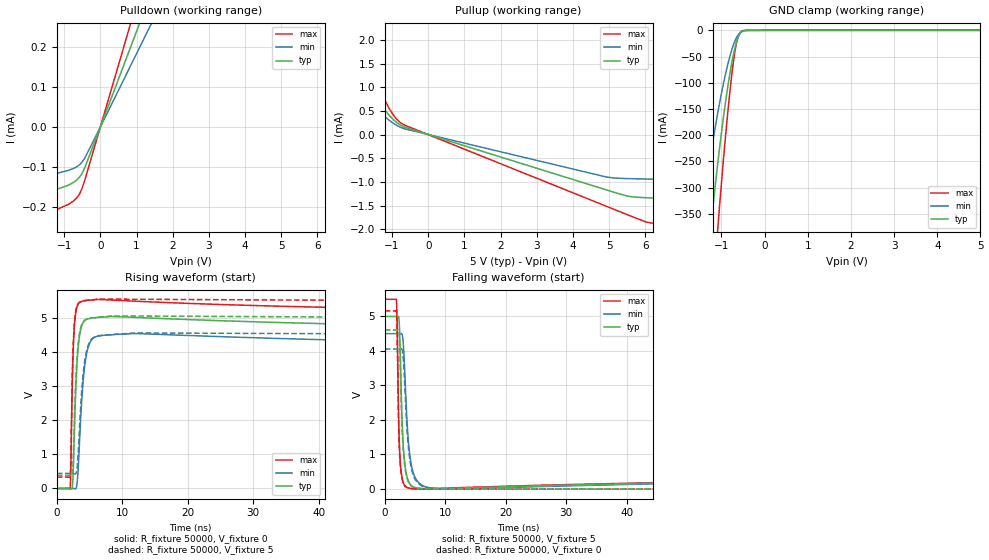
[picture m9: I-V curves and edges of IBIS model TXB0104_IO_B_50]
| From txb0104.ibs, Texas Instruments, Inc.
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[Model]   TXB0104_IO_B_50
Model_type  I/O
Vinl=1.575
Vinh=3.575
Enable   Active-High
Vref =   0
Rref =   1e6
Cref =   15p
Vmeas =   2.5
| variable   typ   min   max
C_comp   13.34pF   11.24pF   15.52pF
| C_pullup   13.27pF   11.21pF   16.01pF
| C_pulldown   23.02pF   10.60pF   39.75pF
| C_tri-state   13.34pF   11.24pF   15.52pF
[Temperature Range]   40   100   -40
| Ambient temperature   25   85   -40
[Voltage range]   5   4.5   5.5
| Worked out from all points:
|   slope of the pulldown table from 0 to 0.75 V, typ, clamps not added: 4.19 kohm
|   slope of the pullup table from 0 to 0.75 V, typ, clamps not added: 4.21 kohm
|   GND clamp passes 1 mA (typ) near -0.48 V on its own axis
|   rising waveform, R_fixture 50000, V_fixture 0: 20-80 % time 520ps typ, 750ps min, 335ps max; typ from 0 V to 4.62 V
|   falling waveform, R_fixture 50000, V_fixture 5: 20-80 % time 504ps typ, 751ps min, 324ps max; typ from 5 V to 0.374 V
|   rising waveform, R_fixture 50000, V_fixture 5: 20-80 % time 606ps typ, 901ps min, 380ps max; typ from 0.386 V to 5 V
|   falling waveform, R_fixture 50000, V_fixture 0: 20-80 % time 602ps typ, 934ps min, 371ps max; typ from 4.61 V to -0.001 V
[GND Clamp]
| TXB0104_IO_B_50
|   Voltage   I(typ)   I(min)   I(max)
-5.5V     -5.138A    -3.901A    -6.439A
-1.49V    -586.5mA   -378.2mA   -853.1mA
-1.46V    -559.5mA   -359.9mA   -815.8mA
-1.235V   -368.5mA   -232.3mA   -546.8mA
-1.095V   -262.3mA   -163.1mA   -391.6mA
-1.07V    -244.6mA   -151.7mA   -365.3mA
-890mV    -129.5mA   -78.65mA   -190.6mA
-735mV    -52.65mA   -31.4mA    -69.36mA
-675mV    -30.55mA   -18.44mA   -35.49mA
-625mV    -16.62mA   -10.47mA   -16.26mA
-520mV    -2.469mA   -1.958mA   -1.335mA
5V        1.546nA    6.018nA    161.4pA
[Pulldown]
| TXB0104_IO_B_50
|   Voltage   I(typ)   I(min)   I(max)
-5.5V     -217uA     -165uA     -283uA
-4.41V    -206uA     -156uA     -268uA
-3.195V   -190uA     -144uA     -251uA
-2.12V    -174uA     -130.6uA   -231uA
-1.275V   -157.6uA   -117.3uA   -208.6uA
-885mV    -145.1uA   -108.1uA   -193.2uA
-660mV    -132.6uA   -99.43uA   -177.5uA
-580mV    -125.4uA   -94.46uA   -167.8uA
-515mV    -117.2uA   -88.7uA    -155.6uA
-430mV    -101.7uA   -77.55uA   -132.8uA
0V        0A         0A         0A
11V       2.628mA    2.017mA    3.403mA
[Pullup]
| TXB0104_IO_B_50
|   Voltage   I(typ)   I(min)   I(max)
-5.5V     11.53mA    5.155mA    20.58mA
-2.415V   3.372mA    2.27mA     4.905mA
-2.165V   2.318mA    1.621mA    3.274mA
-1.925V   1.595mA    1.145mA    2.308mA
-1.68V    1.13mA     810uA      1.669mA
-1.205V   528.2uA    386.5uA    736.9uA
-865mV    252.4uA    192.7uA    319.7uA
-645mV    156.2uA    120.9uA    199.2uA
4.92V     -1.165mA   -893.5uA   -1.511mA
5.51V     -1.3mA     -927.9uA   -1.692mA
6.025V    -1.332mA   -937.3uA   -1.845mA
11V       -1.392mA   -979uA     -1.958mA
[Ramp]
| TXB0104_IO_B_50
| variable   typ   min   max
dV/dt_r   3.04/6.33E-10   2.73/9.41E-10   3.34/3.99E-10
dV/dt_f   3.01/6.13E-10   2.70/9.51E-10   3.31/3.79E-10
R_load = 50000
[Rising Waveform]
| TXB0104_IO_B_50
R_fixture =   50000
C_fixture =   0
L_fixture =   0
V_fixture =   0
V_fixture_min = 0
V_fixture_max = 0
|   Time   V(typ)   V(min)   V(max)
0s        221.3nV    1.663uV    67.5nV
2.02ns    302.2uV    23.12uV    18.34mV
2.125ns   -737.8uV   50.32uV    547.6mV
2.485ns   437.8mV    1.057mV    4.018V
2.99ns    3.357V     43.68mV    5.269V
3.565ns   4.599V     1.788V     5.465V
4.04ns    4.876V     3.197V     5.503V
4.595ns   4.963V     3.999V     5.519V
11.74ns   5.019V     4.543V     5.494V
220ns     4.616V     4.071V     5.165V
[Falling Waveform]
| TXB0104_IO_B_50
R_fixture =   50000
C_fixture =   0
L_fixture =   0
V_fixture =   5
V_fixture_min = 4.5
V_fixture_max = 5.5
|   Time   V(typ)   V(min)   V(max)
0s        5V         4.5V       5.5V
1.915ns   5V         4.5V       5.476V
2.04ns    4.999V     4.5V       4.799V
2.305ns   4.973V     4.5V       1.956V
2.595ns   3.672V     4.499V     697.7mV
3.115ns   1.097V     4.062V     150.4mV
3.77ns    289.1mV    1.698V     30.62mV
4.365ns   96.86mV    714.2mV    5.944mV
10.96ns   6.74mV     -2.249mV   22.26mV
220ns     373.6mV    411.4mV    329.7mV
[Rising Waveform]
| TXB0104_IO_B_50
R_fixture =   50000
C_fixture =   0
L_fixture =   0
V_fixture =   5
V_fixture_min = 4.5
V_fixture_max = 5.5
|   Time   V(typ)   V(min)   V(max)
0s        386.1mV    442.3mV    333.9mV
2.01ns    386.4mV    442.3mV    333.8mV
2.125ns   385.4mV    442.4mV    885.4mV
2.33ns    399.3mV    442.4mV    3.119V
2.66ns    1.943V     438.2mV    4.808V
3.215ns   4.175V     918.6mV    5.411V
3.865ns   4.838V     3.046V     5.496V
4.555ns   4.967V     4.056V     5.521V
12.36ns   5.056V     4.561V     5.548V
220ns     5.001V     4.502V     5.5V
[Falling Waveform]
| TXB0104_IO_B_50
R_fixture =   50000
C_fixture =   0
L_fixture =   0
V_fixture =   0
V_fixture_min = 0
V_fixture_max = 0
|   Time   V(typ)   V(min)   V(max)
0s        4.611V     4.054V     5.164V
1.915ns   4.611V     4.054V     5.141V
2.305ns   4.585V     4.054V     1.758V
2.59ns    3.338V     4.054V     638.6mV
3.1ns     1.005V     3.665V     141.3mV
3.73ns    272.1mV    1.559V     29.3mV
4.33ns    88.42mV    642.4mV    4.193mV
6.205ns   1.028mV    72.69mV    -8.549mV
12.39ns   -13.1mV    -13.29mV   -10.85mV
220ns     -517.5uV   -1.214mV   -179.8uV
